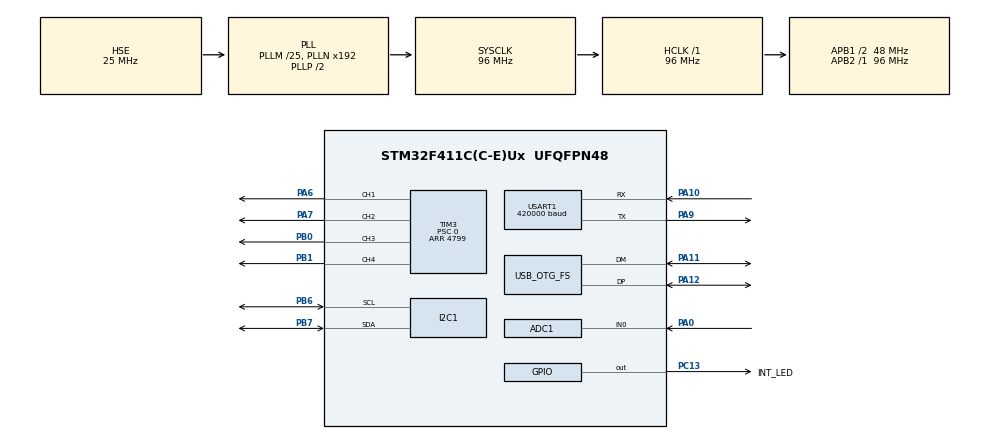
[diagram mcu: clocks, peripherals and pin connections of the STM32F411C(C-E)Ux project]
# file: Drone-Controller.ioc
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ADC1.Channel-0\#ChannelRegularConversion=ADC_CHANNEL_0
ADC1.ContinuousConvMode=DISABLE
ADC1.NbrOfConversion=1
ADC1.NbrOfConversionFlag=1
ADC1.Rank-0\#ChannelRegularConversion=1
ADC1.SamplingTime-0\#ChannelRegularConversion=ADC_SAMPLETIME_3CYCLES
ADC1.ScanConvMode=DISABLE
ADC1.master=1
Dma.I2C1_RX.0.Direction=DMA_PERIPH_TO_MEMORY
Dma.I2C1_RX.0.FIFOMode=DMA_FIFOMODE_DISABLE
Dma.I2C1_RX.0.Instance=DMA1_Stream0
Dma.I2C1_RX.0.MemDataAlignment=DMA_MDATAALIGN_BYTE
Dma.I2C1_RX.0.MemInc=DMA_MINC_ENABLE
Dma.I2C1_RX.0.Mode=DMA_NORMAL
Dma.I2C1_RX.0.PeriphDataAlignment=DMA_PDATAALIGN_BYTE
Dma.I2C1_RX.0.PeriphInc=DMA_PINC_DISABLE
Dma.I2C1_RX.0.Priority=DMA_PRIORITY_HIGH
Dma.I2C1_TX.1.Direction=DMA_MEMORY_TO_PERIPH
Dma.I2C1_TX.1.FIFOMode=DMA_FIFOMODE_DISABLE
Dma.I2C1_TX.1.Instance=DMA1_Stream1
Dma.I2C1_TX.1.MemDataAlignment=DMA_MDATAALIGN_BYTE
Dma.I2C1_TX.1.MemInc=DMA_MINC_ENABLE
Dma.I2C1_TX.1.Mode=DMA_NORMAL
Dma.I2C1_TX.1.PeriphDataAlignment=DMA_PDATAALIGN_BYTE
Dma.I2C1_TX.1.PeriphInc=DMA_PINC_DISABLE
Dma.I2C1_TX.1.Priority=DMA_PRIORITY_MEDIUM
Dma.Request0=I2C1_RX
Dma.Request1=I2C1_TX
Dma.Request2=USART1_RX
Dma.Request3=USART1_TX
Dma.USART1_RX.2.Direction=DMA_PERIPH_TO_MEMORY
Dma.USART1_RX.2.FIFOMode=DMA_FIFOMODE_DISABLE
Dma.USART1_RX.2.Instance=DMA2_Stream2
Dma.USART1_RX.2.MemDataAlignment=DMA_MDATAALIGN_BYTE
Dma.USART1_RX.2.MemInc=DMA_MINC_ENABLE
Dma.USART1_RX.2.Mode=DMA_NORMAL
Dma.USART1_RX.2.PeriphDataAlignment=DMA_PDATAALIGN_BYTE
Dma.USART1_RX.2.PeriphInc=DMA_PINC_DISABLE
Dma.USART1_RX.2.Priority=DMA_PRIORITY_VERY_HIGH
Dma.USART1_TX.3.Direction=DMA_MEMORY_TO_PERIPH
Dma.USART1_TX.3.FIFOMode=DMA_FIFOMODE_DISABLE
Dma.USART1_TX.3.Instance=DMA2_Stream7
Dma.USART1_TX.3.MemDataAlignment=DMA_MDATAALIGN_BYTE
Dma.USART1_TX.3.MemInc=DMA_MINC_ENABLE
Dma.USART1_TX.3.Mode=DMA_NORMAL
Dma.USART1_TX.3.PeriphDataAlignment=DMA_PDATAALIGN_BYTE
Dma.USART1_TX.3.PeriphInc=DMA_PINC_DISABLE
Dma.USART1_TX.3.Priority=DMA_PRIORITY_LOW
I2C1.I2C_Mode=I2C_Fast
Mcu.Family=STM32F4
Mcu.Name=STM32F411C(C-E)Ux
Mcu.Package=UFQFPN48
NVIC.ADC_IRQn=true\:0\:0\:false\:false\:true\:true\:true\:true
NVIC.DMA1_Stream0_IRQn=true\:0\:0\:false\:false\:true\:false\:true\:true
NVIC.DMA1_Stream1_IRQn=true\:0\:0\:false\:false\:true\:false\:true\:true
NVIC.DMA2_Stream2_IRQn=true\:0\:0\:false\:false\:true\:false\:true\:true
NVIC.DMA2_Stream7_IRQn=true\:0\:0\:false\:false\:true\:false\:true\:true
NVIC.I2C1_ER_IRQn=true\:0\:0\:false\:false\:true\:true\:true\:true
NVIC.I2C1_EV_IRQn=true\:0\:0\:false\:false\:true\:true\:true\:true
NVIC.OTG_FS_IRQn=true\:0\:0\:false\:false\:true\:false\:true\:true
NVIC.PriorityGroup=NVIC_PRIORITYGROUP_4
NVIC.USART1_IRQn=true\:0\:0\:false\:false\:true\:true\:true\:true
PA0-WKUP.Signal=ADCx_IN0
PA10.Mode=Asynchronous
PA10.Signal=USART1_RX
PA11.Mode=Device_Only
PA11.Signal=USB_OTG_FS_DM
PA12.Mode=Device_Only
PA12.Signal=USB_OTG_FS_DP
PA6.Signal=S_TIM3_CH1
PA7.Signal=S_TIM3_CH2
PA9.Mode=Asynchronous
PA9.Signal=USART1_TX
PB0.Signal=S_TIM3_CH3
PB1.Signal=S_TIM3_CH4
PB6.Mode=I2C
PB6.Signal=I2C1_SCL
PB7.Mode=I2C
PB7.Signal=I2C1_SDA
PC13-ANTI_TAMP.GPIO_Label=INT_LED
PC13-ANTI_TAMP.Signal=GPIO_Output
PC14-OSC32_IN.Mode=LSE-External-Oscillator
PC14-OSC32_IN.Signal=RCC_OSC32_IN
PC15-OSC32_OUT.Mode=LSE-External-Oscillator
PC15-OSC32_OUT.Signal=RCC_OSC32_OUT
PH0\ -\ OSC_IN.Mode=HSE-External-Oscillator
PH0\ -\ OSC_IN.Signal=RCC_OSC_IN
PH1\ -\ OSC_OUT.Mode=HSE-External-Oscillator
PH1\ -\ OSC_OUT.Signal=RCC_OSC_OUT
ProjectManager.HeapSize=0x200
ProjectManager.StackSize=0x400
ProjectManager.TargetToolchain=STM32CubeIDE
RCC.48MHZClocksFreq_Value=48000000
RCC.AHBFreq_Value=96000000
RCC.APB1CLKDivider=RCC_HCLK_DIV2
RCC.APB1Freq_Value=48000000
RCC.APB1TimFreq_Value=96000000
RCC.APB2Freq_Value=96000000
RCC.APB2TimFreq_Value=96000000
RCC.CortexFreq_Value=96000000
RCC.HCLKFreq_Value=96000000
RCC.HSE_VALUE=25000000
RCC.HSI_VALUE=16000000
RCC.PLLM=25
RCC.SYSCLKFreq_VALUE=96000000
RCC.SYSCLKSource=RCC_SYSCLKSOURCE_PLLCLK
RCC.VCOOutputFreq_Value=192000000
SH.ADCx_IN0.0=ADC1_IN0,IN0
SH.S_TIM3_CH1.0=TIM3_CH1,PWM Generation1 CH1
SH.S_TIM3_CH2.0=TIM3_CH2,PWM Generation2 CH2
SH.S_TIM3_CH3.0=TIM3_CH3,PWM Generation3 CH3
SH.S_TIM3_CH4.0=TIM3_CH4,PWM Generation4 CH4
TIM3.Channel-PWM\ Generation1\ CH1=TIM_CHANNEL_1
TIM3.Channel-PWM\ Generation2\ CH2=TIM_CHANNEL_2
TIM3.Channel-PWM\ Generation3\ CH3=TIM_CHANNEL_3
TIM3.Channel-PWM\ Generation4\ CH4=TIM_CHANNEL_4
TIM3.Period=4799
TIM3.Prescaler=0
USART1.BaudRate=420000
USART1.VirtualMode=VM_ASYNC
USB_DEVICE.CLASS_NAME_FS=CDC
USB_DEVICE.VirtualMode=Cdc
USB_DEVICE.VirtualModeFS=Cdc_FS
USB_OTG_FS.VirtualMode=Device_Only
VP_CRC_VS_CRC.Mode=CRC_Activate
VP_USB_DEVICE_VS_USB_DEVICE_CDC_FS.Mode=CDC_FS
board=custom

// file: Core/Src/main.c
/* USER CODE BEGIN Header */
/**
 ******************************************************************************
 * @file           : main.c
 * @brief          : Main program body
 ******************************************************************************
 * @attention
 *
 * Copyright (c) 2025 STMicroelectronics.
 * All rights reserved.
 *
 * This software is licensed under terms that can be found in the LICENSE file
 * in the root directory of this software component.
 * If no LICENSE file comes with this software, it is provided AS-IS.
 *
 ******************************************************************************
 */
/* USER CODE END Header */
#include "main.h"

#include "usb_device.h"

/* USER CODE BEGIN Includes */

// Data acusition
#include "CRSF_Connection.h"
#include "MPU6050.h"

// FC
#include "FC_Config.h"
#include "FlightController.h"

// ST Middleware
#include "usb_device.h"
#include "usbd_cdc_if.h"
#include <sys\stat.h>

#include <float.h>

/* USER CODE END Includes */

/* USER CODE BEGIN PD */
#define THROTTLE CRSF_Channels[2]
#define PITCH    CRSF_Channels[1]
#define ROLL     CRSF_Channels[0]
#define YAW      CRSF_Channels[3]

#define CCR_MAX 2400.0f
#define CCR_MIN 480.0f

#define MIN_VOLTAGE 20.0f
#define REF_VOLTAGE 20.0f

#define VOLTAGE_DIV_RATIO 10.375f
/* USER CODE END PD */

ADC_HandleTypeDef hadc1;

CRC_HandleTypeDef hcrc;

I2C_HandleTypeDef hi2c1;
DMA_HandleTypeDef hdma_i2c1_rx;
DMA_HandleTypeDef hdma_i2c1_tx;

TIM_HandleTypeDef htim3;

UART_HandleTypeDef huart1;
DMA_HandleTypeDef hdma_usart1_rx;
DMA_HandleTypeDef hdma_usart1_tx;

/* USER CODE BEGIN PV */
volatile bool NewIMUData            = false;
volatile bool NewRCData             = false;
volatile bool ConnectionEstablished = false;

volatile float BatteryVoltage = FLT_MAX;

uint32_t IMU_Rate = 0;

CRSF_BatteryData BatteryData;
MPU_Instance IMUData;
/* USER CODE END PV */

void SystemClock_Config(void);
static void MX_GPIO_Init(void);
static void MX_DMA_Init(void);
static void MX_I2C1_Init(void);
static void MX_TIM3_Init(void);
static void MX_USART1_UART_Init(void);
static void MX_ADC1_Init(void);
static void MX_CRC_Init(void);
/* USER CODE BEGIN PFP */

int _write(int file, char* ptr, int len)
{
	CDC_Transmit_FS(ptr, len);
	return len;
}

void HAL_UARTEx_RxEventCallback(UART_HandleTypeDef* huart, uint16_t Size)
{
	NewRCData = true;
}

void HAL_UART_RxCpltCallback(UART_HandleTypeDef* huart)
{
	printf("CPLT\r\n");
	NewRCData = true;
}

void HAL_UART_TxCpltCallback(UART_HandleTypeDef* huart) {}

void HAL_UART_ErrorCallback(UART_HandleTypeDef* huart)
{
	CRSF_HandleErr();
}

void HAL_I2C_MemRxCpltCallback(I2C_HandleTypeDef* hi2c)
{
	MPU_HandleRX(&IMUData);
	NewIMUData = true;
}

void CRSF_OnChannelsPacked()
{
	ConnectionEstablished = true;
}

void HAL_ADC_ConvCpltCallback(ADC_HandleTypeDef* hadc)
{
	BatteryVoltage = (float)HAL_ADC_GetValue(&hadc1) * 3.3f * VOLTAGE_DIV_RATIO / 4096.0f;

	BatteryData.Voltage = (int16_t)(BatteryVoltage * 10.0f);

	// TODO: Debug info for tuning
	const float Ti           = FC_RC_Data.Aux2 * 4 / 100.0f + 0.05f;
	BatteryData.UsedCapacity = (int)(Ti * 1000.0f);
}

void FC_OnDebugLog(const char* msg, size_t len)
{
	printf("%s", msg);
}

void BlinkLedNTimes(GPIO_TypeDef* GPIOx, uint16_t GPIO_Pin, uint8_t n);

/* USER CODE END PFP */

int main(void)
{

	/* MCU Configuration--------------------------------------------------------*/

	/* Reset of all peripherals, Initializes the Flash interface and the Systick. */
	HAL_Init();

	/* Configure the system clock */
	SystemClock_Config();

	/* Initialize all configured peripherals */
	MX_GPIO_Init();
	MX_DMA_Init();
	MX_I2C1_Init();
	MX_TIM3_Init();
	MX_USART1_UART_Init();
	MX_USB_DEVICE_Init();
	MX_ADC1_Init();
	MX_CRC_Init();
	/* USER CODE BEGIN 2 */

	HAL_Delay(500);

	CRSF_Init(&huart1);

	while(!MPU_Init(&IMUData, &hi2c1, MPU_ADDRESS_1))
	{
	}
	HAL_Delay(2000);
	MPU_CalibrateAll(&IMUData,1000);
	FC_Init();

	static float a[] = {-1.5610f, 0.6414f};
	static float b[] = {0.0201f, 0.0402f, 0.020f};

	FC_RC_SetFilter(b, a);
	FC_IMU_SetGyroFilter(b, a);
	FC_IMU_SetAccelFilter(b, a);

	TIM3->CCR1 = 0;
	TIM3->CCR2 = 0;
	TIM3->CCR3 = 0;
	TIM3->CCR4 = 0;
	HAL_TIM_PWM_Start(&htim3, TIM_CHANNEL_1);
	HAL_TIM_PWM_Start(&htim3, TIM_CHANNEL_2);
	HAL_TIM_PWM_Start(&htim3, TIM_CHANNEL_3);
	HAL_TIM_PWM_Start(&htim3, TIM_CHANNEL_4);

	/* USER CODE END 2 */

	/* Infinite loop */
	/* USER CODE BEGIN WHILE */
	while(1)
	{
		// Connection loss protection
		if(HAL_GetTick() - CRSF_LastChannelsPacked > 200 && ConnectionEstablished)
		{
			FC_EmergencyDisarm(FC_ConnectionLost);
		}

		// Low battery protection
		static uint32_t lowVCtr = 0;
		if(BatteryVoltage < MIN_VOLTAGE && BatteryVoltage > 6.0f && ConnectionEstablished)
		{
			if(HAL_GetTick() - lowVCtr > 1000)
			{
				//TODO:
				// FC_EmergencyDisarm(FC_BatteryLow);
			}
		}
		else
		{
			lowVCtr = HAL_GetTick();
		}

		if(NewRCData)
		{
			NewRCData = false;
			CRSF_HandleRX();
			// FC_RC_UpdateArmStatus(CRSF_ArmStatus);
			// FC_RC_UpdateAxesChannels(THROTTLE, ROLL, PITCH, YAW);
			// FC_RC_UpdateAuxChannels(CRSF_Channels.Ch5, CRSF_Channels.Ch6, CRSF_Channels.Ch7, CRSF_Channels.Ch8);
		}

		if(NewIMUData)
		{
			NewIMUData = false;
			FC_IMU_UpdateGyro(IMUData.GyroX, IMUData.GyroY, IMUData.GyroZ, 0.005f);
			FC_IMU_UpdateAccel(IMUData.AccelX, IMUData.AccelY, IMUData.AccelZ, 0.005f);

			/*float angles[3];
			DSP_QT_EulerAngles_f32(angles, &FC_IMU_Data.Attitude);*/

			/*printf("%f,%f,%f,%f,%f,%f\n\r", IMUData.GyroX, IMUData.GyroY, IMUData.GyroZ, IMUData.AccelX,
			   IMUData.AccelY, IMUData.AccelZ);*/

			IMU_Rate++;

			// printf("%f,%f,%f,%f,%f,%f,%f,%f\r\n", FC_IMU_Data.GyroX, FC_IMU_Data.GyroY, FC_IMU_Data.GyroZ,
			// FC_IMU_Data.AccelX, FC_IMU_Data.AccelY, FC_IMU_Data.AccelZ, angles[0], angles[1]);
		}

		static uint32_t lastIMU = 0;
		if(HAL_GetTick() - lastIMU >= 5)
		{
			lastIMU = HAL_GetTick();
			MPU_RequestAllDMA(&IMUData);
		}

		static uint32_t lastTick5 = 0;
		if(HAL_GetTick() - lastTick5 >= (uint32_t)(FC_PID_Ts * 1000))
		{
			lastTick5 = HAL_GetTick();
			FC_Update(FC_PID_Ts);

			// printf("%f,%f,%f,%f\n", FC_GlobalThrust.Motor1, FC_GlobalThrust.Motor2, FC_GlobalThrust.Motor3,
			//        FC_GlobalThrust.Motor4);

			const float voltage_comp = REF_VOLTAGE / BatteryVoltage;

			TIM3->CCR1 = (uint32_t)(FC_GlobalThrust.Motor1 * (CCR_MAX - CCR_MIN) * voltage_comp / 100.0f + CCR_MIN);
			TIM3->CCR2 = (uint32_t)(FC_GlobalThrust.Motor2 * (CCR_MAX - CCR_MIN) * voltage_comp / 100.0f + CCR_MIN);
			TIM3->CCR3 = (uint32_t)(FC_GlobalThrust.Motor3 * (CCR_MAX - CCR_MIN) * voltage_comp / 100.0f + CCR_MIN);
			TIM3->CCR4 = (uint32_t)(FC_GlobalThrust.Motor4 * (CCR_MAX - CCR_MIN) * voltage_comp / 100.0f + CCR_MIN);
		}
		else
		{
			HAL_ADC_Start_IT(&hadc1);

			CRSF_QueueBatteryData(&BatteryData);
		}
		/* USER CODE END WHILE */

		/* USER CODE BEGIN 3 */
		static uint32_t lastTick1000 = 0;

		const FC_StatusTypeDef errStatus = FC_GetStatus();

		switch(errStatus)
		{
			case FC_BatteryLow:
				BlinkLedNTimes(INT_LED_GPIO_Port, INT_LED_Pin, 2);
				break;
			case FC_ConnectionLost:
				BlinkLedNTimes(INT_LED_GPIO_Port, INT_LED_Pin, 3);
				break;
			default:
				break;
		}

		if(HAL_GetTick() - lastTick1000 >= 1000)
		{
			lastTick1000 = HAL_GetTick();

			// printf("%u\n\r", IMU_Rate);
			IMU_Rate = 0;
			if (!errStatus)
				HAL_GPIO_TogglePin(INT_LED_GPIO_Port, INT_LED_Pin);
		}
		/* USER CODE END WHILE */

		/* USER CODE BEGIN 3 */
	}
	/* USER CODE END 3 */
}

void SystemClock_Config(void)
{
	RCC_OscInitTypeDef RCC_OscInitStruct = {0};
	RCC_ClkInitTypeDef RCC_ClkInitStruct = {0};

	/** Configure the main internal regulator output voltage
	 */
	__HAL_RCC_PWR_CLK_ENABLE();
	__HAL_PWR_VOLTAGESCALING_CONFIG(PWR_REGULATOR_VOLTAGE_SCALE1);

	/** Initializes the RCC Oscillators according to the specified parameters
	 * in the RCC_OscInitTypeDef structure.
	 */
	RCC_OscInitStruct.OscillatorType = RCC_OSCILLATORTYPE_HSE;
	RCC_OscInitStruct.HSEState       = RCC_HSE_ON;
	RCC_OscInitStruct.PLL.PLLState   = RCC_PLL_ON;
	RCC_OscInitStruct.PLL.PLLSource  = RCC_PLLSOURCE_HSE;
	RCC_OscInitStruct.PLL.PLLM       = 25;
	RCC_OscInitStruct.PLL.PLLN       = 192;
	RCC_OscInitStruct.PLL.PLLP       = RCC_PLLP_DIV2;
	RCC_OscInitStruct.PLL.PLLQ       = 4;
	if(HAL_RCC_OscConfig(&RCC_OscInitStruct) != HAL_OK)
	{
		Error_Handler();
	}

	/** Initializes the CPU, AHB and APB buses clocks
	 */
	RCC_ClkInitStruct.ClockType = RCC_CLOCKTYPE_HCLK | RCC_CLOCKTYPE_SYSCLK | RCC_CLOCKTYPE_PCLK1 | RCC_CLOCKTYPE_PCLK2;
	RCC_ClkInitStruct.SYSCLKSource   = RCC_SYSCLKSOURCE_PLLCLK;
	RCC_ClkInitStruct.AHBCLKDivider  = RCC_SYSCLK_DIV1;
	RCC_ClkInitStruct.APB1CLKDivider = RCC_HCLK_DIV2;
	RCC_ClkInitStruct.APB2CLKDivider = RCC_HCLK_DIV1;

	if(HAL_RCC_ClockConfig(&RCC_ClkInitStruct, FLASH_LATENCY_3) != HAL_OK)
	{
		Error_Handler();
	}
}

static void MX_ADC1_Init(void)
{

	ADC_ChannelConfTypeDef sConfig = {0};

	/** Configure the global features of the ADC (Clock, Resolution, Data Alignment and number of conversion)
	 */
	hadc1.Instance                   = ADC1;
	hadc1.Init.ClockPrescaler        = ADC_CLOCK_SYNC_PCLK_DIV4;
	hadc1.Init.Resolution            = ADC_RESOLUTION_12B;
	hadc1.Init.ScanConvMode          = DISABLE;
	hadc1.Init.ContinuousConvMode    = DISABLE;
	hadc1.Init.DiscontinuousConvMode = DISABLE;
	hadc1.Init.ExternalTrigConvEdge  = ADC_EXTERNALTRIGCONVEDGE_NONE;
	hadc1.Init.ExternalTrigConv      = ADC_SOFTWARE_START;
	hadc1.Init.DataAlign             = ADC_DATAALIGN_RIGHT;
	hadc1.Init.NbrOfConversion       = 1;
	hadc1.Init.DMAContinuousRequests = DISABLE;
	hadc1.Init.EOCSelection          = ADC_EOC_SINGLE_CONV;
	if(HAL_ADC_Init(&hadc1) != HAL_OK)
	{
		Error_Handler();
	}

	/** Configure for the selected ADC regular channel its corresponding rank in the sequencer and its sample time.
	 */
	sConfig.Channel      = ADC_CHANNEL_0;
	sConfig.Rank         = 1;
	sConfig.SamplingTime = ADC_SAMPLETIME_3CYCLES;
	if(HAL_ADC_ConfigChannel(&hadc1, &sConfig) != HAL_OK)
	{
		Error_Handler();
	}
}

static void MX_CRC_Init(void)
{

	hcrc.Instance = CRC;
	if(HAL_CRC_Init(&hcrc) != HAL_OK)
	{
		Error_Handler();
	}
}

static void MX_I2C1_Init(void)
{

	hi2c1.Instance             = I2C1;
	hi2c1.Init.ClockSpeed      = 400000;
	hi2c1.Init.DutyCycle       = I2C_DUTYCYCLE_2;
	hi2c1.Init.OwnAddress1     = 0;
	hi2c1.Init.AddressingMode  = I2C_ADDRESSINGMODE_7BIT;
	hi2c1.Init.DualAddressMode = I2C_DUALADDRESS_DISABLE;
	hi2c1.Init.OwnAddress2     = 0;
	hi2c1.Init.GeneralCallMode = I2C_GENERALCALL_DISABLE;
	hi2c1.Init.NoStretchMode   = I2C_NOSTRETCH_DISABLE;
	if(HAL_I2C_Init(&hi2c1) != HAL_OK)
	{
		Error_Handler();
	}
}

static void MX_TIM3_Init(void)
{

	TIM_MasterConfigTypeDef sMasterConfig = {0};
	TIM_OC_InitTypeDef sConfigOC          = {0};

	htim3.Instance               = TIM3;
	htim3.Init.Prescaler         = 0;
	htim3.Init.CounterMode       = TIM_COUNTERMODE_UP;
	htim3.Init.Period            = 4799;
	htim3.Init.ClockDivision     = TIM_CLOCKDIVISION_DIV1;
	htim3.Init.AutoReloadPreload = TIM_AUTORELOAD_PRELOAD_DISABLE;
	if(HAL_TIM_PWM_Init(&htim3) != HAL_OK)
	{
		Error_Handler();
	}
	sMasterConfig.MasterOutputTrigger = TIM_TRGO_RESET;
	sMasterConfig.MasterSlaveMode     = TIM_MASTERSLAVEMODE_DISABLE;
	if(HAL_TIMEx_MasterConfigSynchronization(&htim3, &sMasterConfig) != HAL_OK)
	{
		Error_Handler();
	}
	sConfigOC.OCMode     = TIM_OCMODE_PWM1;
	sConfigOC.Pulse      = 0;
	sConfigOC.OCPolarity = TIM_OCPOLARITY_HIGH;
	sConfigOC.OCFastMode = TIM_OCFAST_DISABLE;
	if(HAL_TIM_PWM_ConfigChannel(&htim3, &sConfigOC, TIM_CHANNEL_1) != HAL_OK)
	{
		Error_Handler();
	}
	if(HAL_TIM_PWM_ConfigChannel(&htim3, &sConfigOC, TIM_CHANNEL_2) != HAL_OK)
	{
		Error_Handler();
	}
	if(HAL_TIM_PWM_ConfigChannel(&htim3, &sConfigOC, TIM_CHANNEL_3) != HAL_OK)
	{
		Error_Handler();
	}
	if(HAL_TIM_PWM_ConfigChannel(&htim3, &sConfigOC, TIM_CHANNEL_4) != HAL_OK)
	{
		Error_Handler();
	}
	HAL_TIM_MspPostInit(&htim3);
}

static void MX_USART1_UART_Init(void)
{

	huart1.Instance          = USART1;
	huart1.Init.BaudRate     = 420000;
	huart1.Init.WordLength   = UART_WORDLENGTH_8B;
	huart1.Init.StopBits     = UART_STOPBITS_1;
	huart1.Init.Parity       = UART_PARITY_NONE;
	huart1.Init.Mode         = UART_MODE_TX_RX;
	huart1.Init.HwFlowCtl    = UART_HWCONTROL_NONE;
	huart1.Init.OverSampling = UART_OVERSAMPLING_16;
	if(HAL_UART_Init(&huart1) != HAL_OK)
	{
		Error_Handler();
	}
}

static void MX_DMA_Init(void)
{
	/* DMA controller clock enable */
	__HAL_RCC_DMA1_CLK_ENABLE();
	__HAL_RCC_DMA2_CLK_ENABLE();

	/* DMA interrupt init */
	/* DMA1_Stream0_IRQn interrupt configuration */
	HAL_NVIC_SetPriority(DMA1_Stream0_IRQn, 0, 0);
	HAL_NVIC_EnableIRQ(DMA1_Stream0_IRQn);
	/* DMA1_Stream1_IRQn interrupt configuration */
	HAL_NVIC_SetPriority(DMA1_Stream1_IRQn, 0, 0);
	HAL_NVIC_EnableIRQ(DMA1_Stream1_IRQn);
	/* DMA2_Stream2_IRQn interrupt configuration */
	HAL_NVIC_SetPriority(DMA2_Stream2_IRQn, 0, 0);
	HAL_NVIC_EnableIRQ(DMA2_Stream2_IRQn);
	/* DMA2_Stream7_IRQn interrupt configuration */
	HAL_NVIC_SetPriority(DMA2_Stream7_IRQn, 0, 0);
	HAL_NVIC_EnableIRQ(DMA2_Stream7_IRQn);
}

static void MX_GPIO_Init(void)
{
	GPIO_InitTypeDef GPIO_InitStruct = {0};

	/* GPIO Ports Clock Enable */
	__HAL_RCC_GPIOC_CLK_ENABLE();
	__HAL_RCC_GPIOH_CLK_ENABLE();
	__HAL_RCC_GPIOA_CLK_ENABLE();
	__HAL_RCC_GPIOB_CLK_ENABLE();

	/*Configure GPIO pin Output Level */
	HAL_GPIO_WritePin(INT_LED_GPIO_Port, INT_LED_Pin, GPIO_PIN_RESET);

	/*Configure GPIO pin : INT_LED_Pin */
	GPIO_InitStruct.Pin   = INT_LED_Pin;
	GPIO_InitStruct.Mode  = GPIO_MODE_OUTPUT_PP;
	GPIO_InitStruct.Pull  = GPIO_NOPULL;
	GPIO_InitStruct.Speed = GPIO_SPEED_FREQ_LOW;
	HAL_GPIO_Init(INT_LED_GPIO_Port, &GPIO_InitStruct);

}

/* USER CODE BEGIN 4 */
// Yeah, ChatGPT wrote this one, I needed it for a quick test
void BlinkLedNTimes(GPIO_TypeDef* GPIOx, uint16_t GPIO_Pin, uint8_t n)
{
	typedef enum { LED_STATE_IDLE, LED_STATE_BLINK_ON, LED_STATE_BLINK_OFF, LED_STATE_WAIT } LedState;

	static LedState state       = LED_STATE_IDLE;
	static uint32_t lastTick    = 0;
	static uint8_t blinkCount   = 0;
	static uint8_t targetBlinks = 0;

	switch(state)
	{
		case LED_STATE_IDLE:
			if(n > 0)
			{
				targetBlinks = n;
				blinkCount   = 0;
				state        = LED_STATE_BLINK_ON;
				lastTick     = HAL_GetTick();
				HAL_GPIO_WritePin(GPIOx, GPIO_Pin, GPIO_PIN_SET);
			}
			break;

		case LED_STATE_BLINK_ON:
			if(HAL_GetTick() - lastTick >= 100)
			{
				HAL_GPIO_WritePin(GPIOx, GPIO_Pin, GPIO_PIN_RESET);
				lastTick = HAL_GetTick();
				state    = LED_STATE_BLINK_OFF;
			}
			break;

		case LED_STATE_BLINK_OFF:
			if(HAL_GetTick() - lastTick >= 100)
			{
				blinkCount++;
				if(blinkCount < targetBlinks)
				{
					HAL_GPIO_WritePin(GPIOx, GPIO_Pin, GPIO_PIN_SET);
					lastTick = HAL_GetTick();
					state    = LED_STATE_BLINK_ON;
				}
				else
				{
					HAL_GPIO_WritePin(GPIOx, GPIO_Pin, GPIO_PIN_SET);
					state    = LED_STATE_WAIT;
					lastTick = HAL_GetTick();
				}
			}
			break;

		case LED_STATE_WAIT:
			if(HAL_GetTick() - lastTick >= 1000)
			{
				state = LED_STATE_IDLE;
			}
			break;
	}
}
/* USER CODE END 4 */

void Error_Handler(void)
{
	/* USER CODE BEGIN Error_Handler_Debug */
	/* User can add his own implementation to report the HAL error return state */
	__disable_irq();
	TIM3->CCR1 = 0;
	TIM3->CCR2 = 0;
	TIM3->CCR3 = 0;
	TIM3->CCR4 = 0;
	while(1)
	{
	}
	/* USER CODE END Error_Handler_Debug */
}
